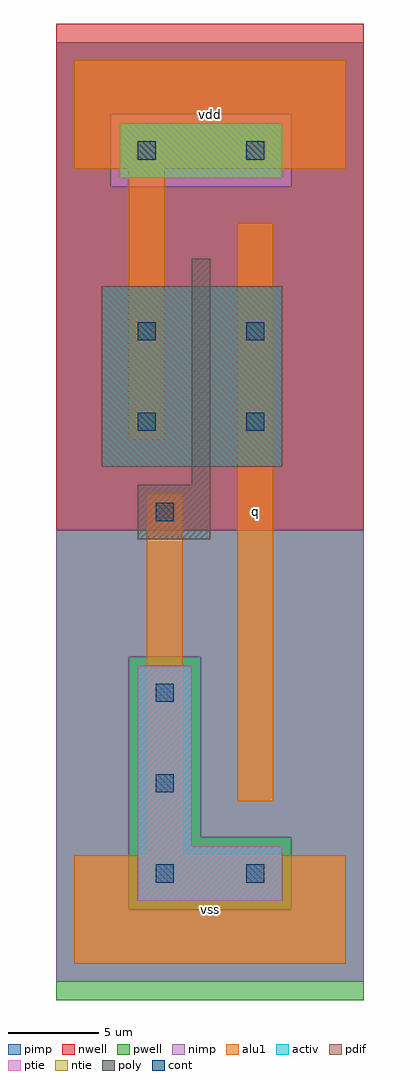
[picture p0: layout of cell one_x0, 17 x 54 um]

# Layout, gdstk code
import gdstk
lib = gdstk.Library(unit=1e-6, precision=1e-09)
def R(c, l, rs):  # rectangles x0, y0, x1, y1
    for r in rs: c.add(gdstk.rectangle(r[:2], r[2:], *l))
def A(c, l, x, y, w, h, nx, ny, dx, dy):  # array of equal rectangles
    R(c, l, [(x+i*dx, y+j*dy, x+i*dx+w, y+j*dy+h) for i in range(nx) for j in range(ny)])
pdif = (4, 0)
ntie = (5, 0)
ptie = (6, 0)
cont = (25, 0)
pwell = (41, 0)
nwell = (42, 0)
activ = (43, 0)
pimp = (44, 0)
nimp = (45, 0)
poly = (46, 0)
alu1 = (49, 0)

one_x0 = lib.new_cell('one_x0')
R(one_x0, pdif, [(1.5,27.5,11.5,37.5)])
R(one_x0, ntie, [(2.5,43.5,11.5,46.5)])
R(one_x0, ptie, [(3.5,3.5,11.5,6.5), (3.5,6.5,6.5,16.5)])
A(one_x0, cont, 4.5, 4.5, 1, 1, 1, 3, 0, 5)
R(one_x0, cont, [(9.5,4.5,10.5,5.5), (4.5,24.5,5.5,25.5), (3.5,29.5,4.5,30.5), (9.5,29.5,10.5,30.5), (3.5,34.5,4.5,35.5), (9.5,34.5,10.5,35.5), (3.5,44.5,4.5,45.5), (9.5,44.5,10.5,45.5)])
R(one_x0, pwell, [(-1,-2,16,24)])
R(one_x0, nwell, [(-1,24,16,52)])
R(one_x0, activ, [(3.5,3.5,11.5,6.5), (3.5,6.5,6.5,16.5), (1.5,27.5,11.5,37.5), (2.5,43.5,11.5,46.5)])
R(one_x0, pimp, [(3,3,12,7), (3,7,7,17), (-1,24,16,43), (-1,43,2,47), (12,43,16,47), (-1,47,16,51)])
R(one_x0, nimp, [(-1,-1,16,3), (-1,3,3,17), (12,3,16,7), (7,7,16,17), (-1,17,16,24), (2,43,12,47)])
R(one_x0, poly, [(3.5,23.5,7.5,26.5), (6.5,26.5,7.5,39)])
R(one_x0, alu1, [(0,0,15,6), (4,6,6,26), (9,9,11,41), (3,29,5,44), (0,44,15,50)])
one_x0.add(gdstk.Label('vss', (7.5,3), layer=49, texttype=0))
one_x0.add(gdstk.Label('q', (10,25), layer=49, texttype=0))
one_x0.add(gdstk.Label('vdd', (7.5,47), layer=49, texttype=0))

lib.write_gds('one_x0.gds')
